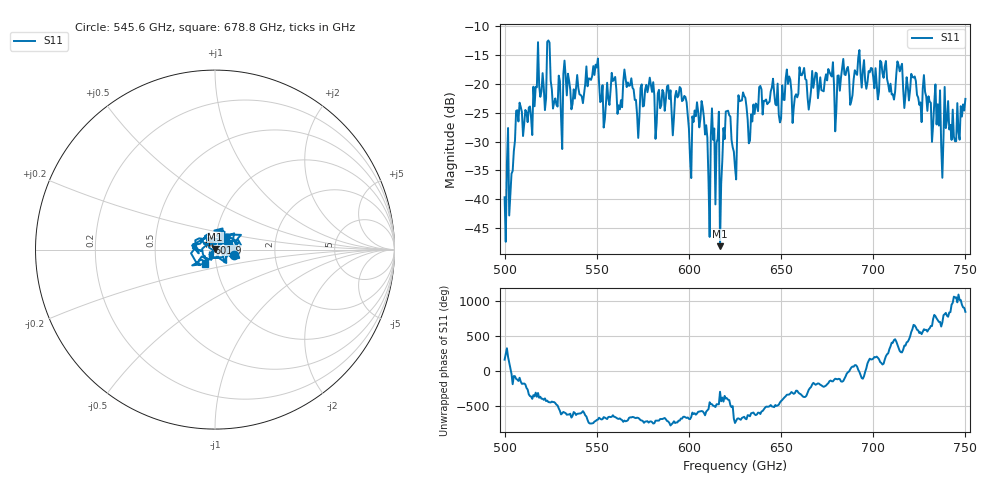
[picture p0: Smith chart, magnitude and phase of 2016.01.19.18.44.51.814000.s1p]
!Created with skrf (http://scikit-rf.org).
# GHz S RI R 50.0
!freq ReS11 ImS11
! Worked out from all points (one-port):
!   401 points, 500 GHz to 750 GHz, reference 50 ohm
!   lowest |S11| = -48.2 dB at 616.9 GHz (marker M1), VSWR 1.01, Z = 50.2 + j0.36 ohm
!   |S11| at or under -10 dB: start of sweep to end of sweep
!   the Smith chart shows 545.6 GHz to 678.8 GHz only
!   S11 on the Smith chart (normalised r, x): 545.6 GHz: 1.24, -0.07; 601.9 GHz: 0.93, +0.07; 678.8 GHz: 0.89, -0.14
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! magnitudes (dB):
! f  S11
! 500 GHz  -39.7
! 503.8 GHz  -35.6
! 507.5 GHz  -26.5
! 513.8 GHz  -23.9
! 524.4 GHz  -12.8
! 527.5 GHz  -22.5
! 531.2 GHz  -31.3
! 545.6 GHz  -19.0
! 562.5 GHz  -24.4
! 565.6 GHz  -19.0
! 571.9 GHz  -25.3
! 593.8 GHz  -22.3
! 601.9 GHz  -25.6
! 606.9 GHz  -23.0
! 610 GHz  -29.3
! 616.9 GHz  -48.2
! 621.2 GHz  -24.6
! 625 GHz  -34.5
! 628.1 GHz  -22.9
! 633.1 GHz  -29.8
! 638.1 GHz  -20.5
! 656.2 GHz  -26.8
! 661.2 GHz  -18.5
! 678.8 GHz  -20.4
! 687.5 GHz  -23.6
! 718.8 GHz  -20.5
! 736.9 GHz  -30.7
! 750 GHz  -22.6
